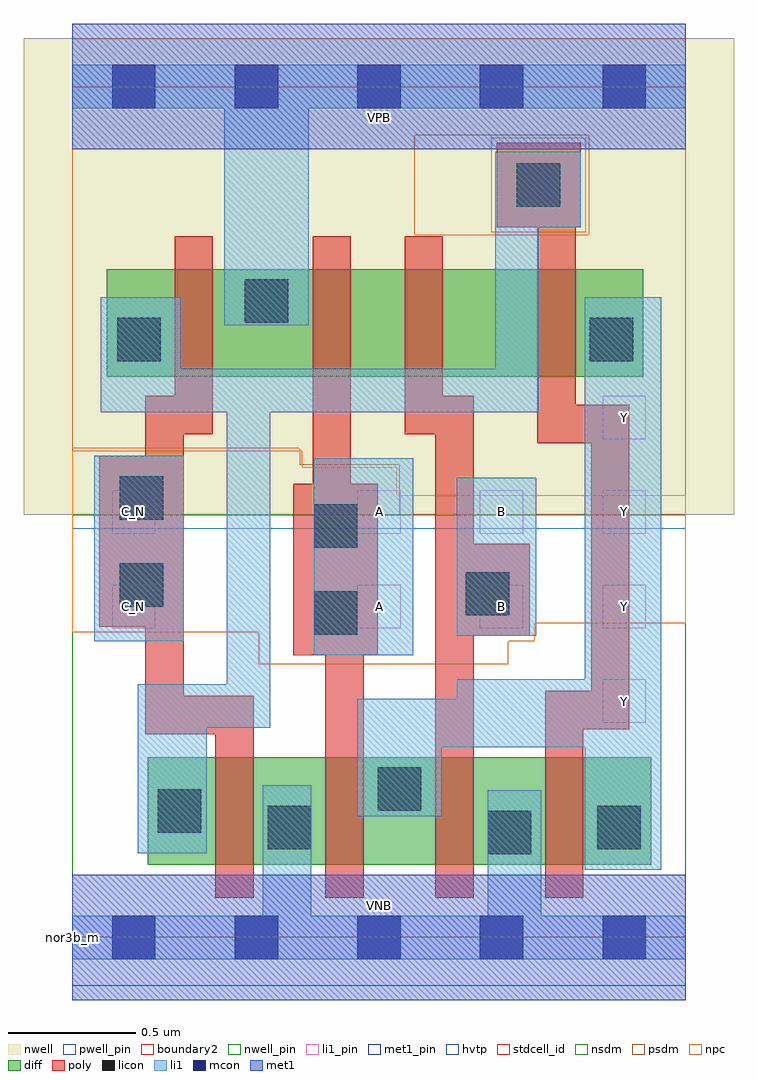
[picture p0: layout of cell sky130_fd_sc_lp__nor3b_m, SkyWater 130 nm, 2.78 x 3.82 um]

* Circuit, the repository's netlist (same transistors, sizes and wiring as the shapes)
* Copyright 2020 The SkyWater PDK Authors
*
* Licensed under the Apache License, Version 2.0 (the "License");
* you may not use this file except in compliance with the License.
* You may obtain a copy of the License at
*
*     https://www.apache.org/licenses/LICENSE-2.0
*
* Unless required by applicable law or agreed to in writing, software
* distributed under the License is distributed on an "AS IS" BASIS,
* WITHOUT WARRANTIES OR CONDITIONS OF ANY KIND, either express or implied.
* See the License for the specific language governing permissions and
* limitations under the License.
*
* SPDX-License-Identifier: Apache-2.0

.SUBCKT sky130_fd_sc_lp__nor3b_m A B C_N VGND VNB VPB VPWR Y
*.PININFO A:I B:I C_N:I VGND:I VNB:I VPB:I VPWR:I Y:O
MMP0 VPWR A sndPA VPB sky130_fd_pr__pfet_01v8_hvt m=1 w=0.42U l=0.15U mult=1 sa=0.265
+ sb=0.265 sd=0.28 area=0.063 perim=1.14
MMP1 sndPA B sndPB VPB sky130_fd_pr__pfet_01v8_hvt m=1 w=0.42U l=0.15U mult=1 sa=0.265
+ sb=0.265 sd=0.28 area=0.063 perim=1.14
MMP2 sndPB C Y VPB sky130_fd_pr__pfet_01v8_hvt m=1 w=0.42U l=0.15U mult=1 sa=0.265
+ sb=0.265 sd=0.28 area=0.063 perim=1.14
MMIP2 C C_N VPWR VPB sky130_fd_pr__pfet_01v8_hvt m=1 w=0.42U l=0.15U mult=1 sa=0.265
+ sb=0.265 sd=0.28 area=0.063 perim=1.14
MMN0 Y A VGND VNB sky130_fd_pr__nfet_01v8 m=1 w=0.42U l=0.15U mult=1 sa=0.265 sb=0.265
+ sd=0.28 area=0.063 perim=1.14
MMN1 Y B VGND VNB sky130_fd_pr__nfet_01v8 m=1 w=0.42U l=0.15U mult=1 sa=0.265 sb=0.265
+ sd=0.28 area=0.063 perim=1.14
MMN2 Y C VGND VNB sky130_fd_pr__nfet_01v8 m=1 w=0.42U l=0.15U mult=1 sa=0.265 sb=0.265
+ sd=0.28 area=0.063 perim=1.14
MMIN2 C C_N VGND VNB sky130_fd_pr__nfet_01v8 m=1 w=0.42U l=0.15U mult=1 sa=0.265
+ sb=0.265 sd=0.28 area=0.063 perim=1.14
.ENDS sky130_fd_sc_lp__nor3b_m

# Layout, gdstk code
import gdstk
lib = gdstk.Library(unit=1e-6, precision=1e-09)
def R(c, l, rs):  # rectangles x0, y0, x1, y1
    for r in rs: c.add(gdstk.rectangle(r[:2], r[2:], *l))
def A(c, l, x, y, w, h, nx, ny, dx, dy):  # array of equal rectangles
    R(c, l, [(x+i*dx, y+j*dy, x+i*dx+w, y+j*dy+h) for i in range(nx) for j in range(ny)])
def P(c, l, *ps):  # polygons
    for p in ps: c.add(gdstk.Polygon(p, *l))
nwell_pin = (64, 16)
nwell = (64, 20)
diff = (65, 20)
poly = (66, 20)
licon = (66, 44)
li1_pin = (67, 16)
li1 = (67, 20)
mcon = (67, 44)
met1_pin = (68, 16)
met1 = (68, 20)
hvtp = (78, 44)
stdcell_id = (81, 4)
nsdm = (93, 44)
psdm = (94, 20)
npc = (95, 20)
pwell_pin = (122, 16)
boundary2 = (236, 0)

sky130_fd_sc_lp__nor3b_m = lib.new_cell('sky130_fd_sc_lp__nor3b_m')
R(sky130_fd_sc_lp__nor3b_m, nwell_pin, [(0,3.085,2.4,3.33)])
R(sky130_fd_sc_lp__nor3b_m, nwell, [(-0.19,1.655,2.59,3.52)])
R(sky130_fd_sc_lp__nor3b_m, diff, [(0.295,0.285,2.265,0.705), (0.135,2.195,2.235,2.615)])
P(sky130_fd_sc_lp__nor3b_m, poly, [(1.79,1.54),(1.57,1.54),(1.57,2.12),(1.45,2.12),(1.45,2.745),(1.3,2.745),(1.3,1.97),(1.42,1.97),(1.42,0.155),(1.57,0.155),(1.57,1.18),(1.79,1.18)],
  [(1.195,1.775),(1.09,1.775),(1.09,2.745),(0.94,2.745),(0.94,1.775),(0.865,1.775),(0.865,1.105),(0.99,1.105),(0.99,0.155),(1.14,0.155),(1.14,1.105),(1.195,1.105)],
  [(2.18,2.085),(1.97,2.085),(1.97,2.78),(1.99,2.78),(1.99,3.11),(1.66,3.11),(1.66,2.78),(1.82,2.78),(1.82,1.935),(2.03,1.935),(2.03,0.965),(1.85,0.965),(1.85,0.155),(2,0.155),(2,0.815),(2.18,0.815)],
  [(0.71,0.945),(0.435,0.945),(0.435,1.97),(0.55,1.97),(0.55,2.745),(0.4,2.745),(0.4,2.12),(0.285,2.12),(0.285,1.885),(0.105,1.885),(0.105,1.215),(0.285,1.215),(0.285,0.795),(0.56,0.795),(0.56,0.155),(0.71,0.155)])
R(sky130_fd_sc_lp__nor3b_m, licon, [(1.625,0.325,1.795,0.495), (0.765,0.345,0.935,0.515), (2.055,0.345,2.225,0.515), (0.335,0.41,0.505,0.58), (1.195,0.495,1.365,0.665), (0.945,1.185,1.115,1.355), (1.54,1.26,1.71,1.43), (0.185,1.295,0.355,1.465), (0.945,1.525,1.115,1.695), (0.185,1.635,0.355,1.805), (0.175,2.255,0.345,2.425), (2.025,2.255,2.195,2.425), (0.675,2.405,0.845,2.575), (1.74,2.86,1.91,3.03)])
A(sky130_fd_sc_lp__nor3b_m, li1_pin, 1.115, 1.21, 0.17, 0.17, 3, 2, 0.48, 0.37)
R(sky130_fd_sc_lp__nor3b_m, li1_pin, [(2.075,0.84,2.245,1.01), (0.155,1.21,0.325,1.38), (0.155,1.58,0.325,1.75), (2.075,1.95,2.245,2.12)])
R(sky130_fd_sc_lp__nor3b_m, li1, [(0.945,1.105,1.335,1.875), (0.085,1.16,0.435,1.885), (1.505,1.18,1.815,1.8)])
P(sky130_fd_sc_lp__nor3b_m, li1, [(2.4,0.085),(1.835,0.085),(1.835,0.575),(1.625,0.575),(1.625,0.085),(0.935,0.085),(0.935,0.595),(0.745,0.595),(0.745,0.085),(0,0.085),(0,-0.085),(2.4,-0.085)],
  [(1.99,3.075),(1.655,3.075),(1.655,2.225),(0.425,2.225),(0.425,2.505),(0.11,2.505),(0.11,2.055),(0.605,2.055),(0.605,0.99),(0.255,0.99),(0.255,0.33),(0.525,0.33),(0.525,0.82),(0.775,0.82),(0.775,2.055),(1.825,2.055),(1.825,2.78),(1.99,2.78)],
  [(2.305,2.505),(2.005,2.505),(2.005,1.01),(1.505,1.01),(1.505,0.935),(1.115,0.935),(1.115,0.475),(1.445,0.475),(1.445,0.745),(2.005,0.745),(2.005,0.265),(2.305,0.265)],
  [(2.4,3.415),(0,3.415),(0,3.245),(0.595,3.245),(0.595,2.395),(0.925,2.395),(0.925,3.245),(2.4,3.245)])
A(sky130_fd_sc_lp__nor3b_m, mcon, 0.155, -0.085, 0.17, 0.17, 5, 2, 0.48, 3.33)
R(sky130_fd_sc_lp__nor3b_m, met1_pin, [(0,0,2.4,0.245), (0,3.085,2.4,3.33)])
R(sky130_fd_sc_lp__nor3b_m, met1, [(0,-0.245,2.4,0.245), (0,3.085,2.4,3.575)])
R(sky130_fd_sc_lp__nor3b_m, hvtp, [(0,1.6,2.4,3.33)])
R(sky130_fd_sc_lp__nor3b_m, stdcell_id, [(0,0,2.4,3.33)])
R(sky130_fd_sc_lp__nor3b_m, nsdm, [(0,-0.19,2.4,1.655)])
P(sky130_fd_sc_lp__nor3b_m, psdm, [(2.4,3.52),(2.02,3.52),(2.02,2.75),(1.34,2.75),(1.34,3.14),(2.02,3.14),(2.02,3.52),(0,3.52),(0,1.915),(0.89,1.915),(0.89,1.85),(1.28,1.85),(1.28,1.655),(2.4,1.655)])
R(sky130_fd_sc_lp__nor3b_m, npc, [(1.64,2.76,2.01,3.13)])
P(sky130_fd_sc_lp__nor3b_m, npc, [(2.4,1.73),(1.27,1.73),(1.27,1.84),(0.9,1.84),(0.9,1.905),(0,1.905),(0,1.195),(0.73,1.195),(0.73,1.07),(1.705,1.07),(1.705,1.16),(1.81,1.16),(1.81,1.23),(2.4,1.23)])
R(sky130_fd_sc_lp__nor3b_m, pwell_pin, [(0,0,2.4,0.245)])
R(sky130_fd_sc_lp__nor3b_m, boundary2, [(0,0,2.4,3.33)])
sky130_fd_sc_lp__nor3b_m.add(gdstk.Label('VNB', (1.2,0.123), layer=64, texttype=59))
sky130_fd_sc_lp__nor3b_m.add(gdstk.Label('VPB', (1.2,3.208), layer=64, texttype=5))
sky130_fd_sc_lp__nor3b_m.add(gdstk.Label('nor3b_m', (0,0), layer=83, texttype=44))
sky130_fd_sc_lp__nor3b_m.add(gdstk.Label('VPWR', (1.2,3.208), layer=68, texttype=5))
sky130_fd_sc_lp__nor3b_m.add(gdstk.Label('VGND', (1.2,0.123), layer=68, texttype=5))
sky130_fd_sc_lp__nor3b_m.add(gdstk.Label('A', (1.2,1.295), layer=67, texttype=5))
sky130_fd_sc_lp__nor3b_m.add(gdstk.Label('A', (1.2,1.665), layer=67, texttype=5))
sky130_fd_sc_lp__nor3b_m.add(gdstk.Label('Y', (2.16,0.925), layer=67, texttype=5))
sky130_fd_sc_lp__nor3b_m.add(gdstk.Label('B', (1.68,1.295), layer=67, texttype=5))
sky130_fd_sc_lp__nor3b_m.add(gdstk.Label('B', (1.68,1.665), layer=67, texttype=5))
sky130_fd_sc_lp__nor3b_m.add(gdstk.Label('C_N', (0.24,1.295), layer=67, texttype=5))
sky130_fd_sc_lp__nor3b_m.add(gdstk.Label('C_N', (0.24,1.665), layer=67, texttype=5))
sky130_fd_sc_lp__nor3b_m.add(gdstk.Label('Y', (2.16,1.665), layer=67, texttype=5))
sky130_fd_sc_lp__nor3b_m.add(gdstk.Label('Y', (2.16,2.035), layer=67, texttype=5))
sky130_fd_sc_lp__nor3b_m.add(gdstk.Label('Y', (2.16,1.295), layer=67, texttype=5))

lib.write_gds('sky130_fd_sc_lp__nor3b_m.gds')
